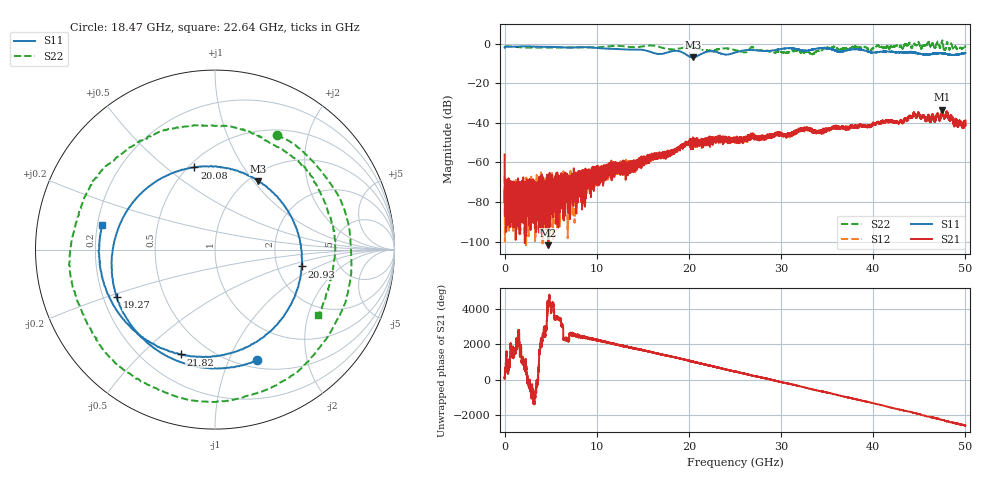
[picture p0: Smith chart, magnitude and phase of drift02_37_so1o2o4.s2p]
!Created with skrf (http://scikit-rf.org).
# Hz S RI R 50.0
!freq ReS11 ImS11 ReS21 ImS21 ReS12 ImS12 ReS22 ImS22
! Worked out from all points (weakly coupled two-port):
!   10001 points, 300 kHz to 50 GHz, reference 50 ohm
!   highest |S21| = -33.23 dB at 47.51 GHz (marker M1); lowest = -101.9 dB at 4.755 GHz (marker M2)
!   lowest |S11| = -6.9 dB at 20.41 GHz (marker M3), VSWR 2.63, Z = 55.4 + j52.7 ohm
!   |S11| at or under -10 dB: nowhere
!   |S22| runs from -5.4 to 1.7 dB; largest |S21 - S12| = 0.0035
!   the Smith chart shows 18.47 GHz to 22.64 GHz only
!   S11 on the Smith chart (normalised r, x): 18.47 GHz: 0.58, -1.27; 19.27 GHz: 0.26, -0.22; 20.08 GHz: 0.53, +0.63; 20.93 GHz: 2.75, -0.68; 21.82 GHz: 0.35, -0.66; 22.64 GHz: 0.22, +0.10
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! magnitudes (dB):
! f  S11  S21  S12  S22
! 300 kHz  -2.0  -55.9  -66.9  -1.3
! 275.3 MHz  -1.4  -73.7  -76.1  -1.4
! 3.375 GHz  -1.5  -76.4  -81.5  -1.9
! 4.755 GHz  -1.6  -101.9  -82.5  -2.0
! 5.465 GHz  -1.6  -78.2  -68.2  -2.0
! 6.24 GHz  -1.8  -68.4  -69.7  -1.9
! 8.335 GHz  -1.7  -66.6  -65.7  -1.9
! 16.67 GHz  -5.2  -55.8  -56.6  -1.5
! 18.47 GHz  -3.6  -53.1  -54.2  -2.8
! 19.27 GHz  -4.3  -50.7  -51.9  -2.1
! 20.08 GHz  -6.5  -48.9  -50.5  -1.5
! 20.41 GHz  -6.9  -49.8  -49.6  -1.8
! 20.93 GHz  -6.1  -51.5  -49.6  -2.2
! 21.82 GHz  -4.2  -48.3  -50.1  -3.5
! 22.64 GHz  -3.8  -48.3  -49.0  -3.4
! 25 GHz  -4.5  -49.4  -48.5  -3.2
! 26.9 GHz  -3.2  -46.9  -45.8  -1.7
! 33.34 GHz  -3.0  -44.1  -43.6  -5.2
! 34.89 GHz  -2.3  -43.5  -43.8  -2.2
! 41.67 GHz  -3.9  -39.6  -39.2  -2.2
! 47.51 GHz  -4.8  -33.2  -34.0  1.7
! 50 GHz  -4.7  -40.9  -40.8  -1.5
